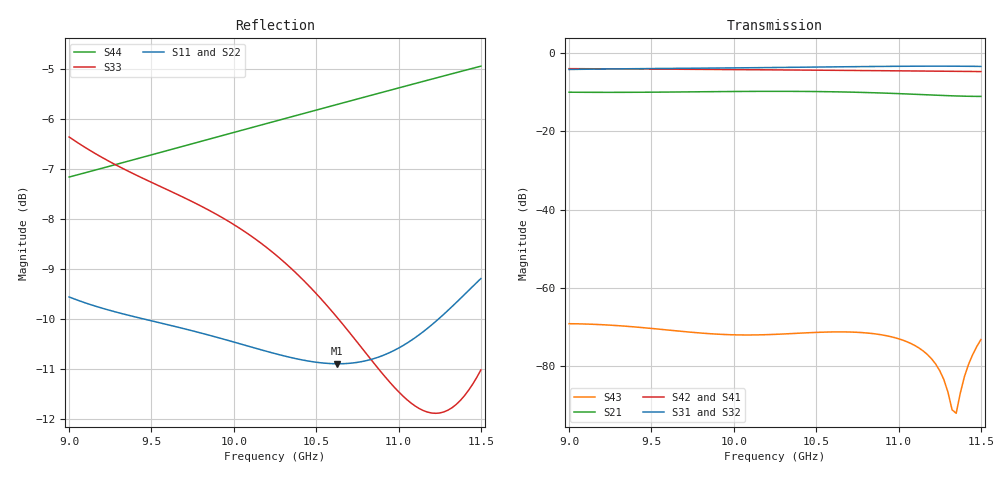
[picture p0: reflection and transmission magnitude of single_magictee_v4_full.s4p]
! Generated from PyAEDT SolutionData; AEDT ExportNetworkData workaround
# GHz S MA R 50
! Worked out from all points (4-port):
!   101 points, 9 GHz to 11.5 GHz, reference 50 ohm
!   strongest paths, dB at 9 GHz, 9.625 GHz, 10.25 GHz, 10.88 GHz, 11.5 GHz:
!     S31: -4.1, -3.9, -3.6, -3.4, -3.4
!     S32: -4.2, -3.9, -3.6, -3.4, -3.4
!     S42: -3.9, -4.1, -4.2, -4.4, -4.7
!     S41: -3.9, -4.1, -4.3, -4.5, -4.7
!     S21: -10.0, -9.9, -9.7, -10.1, -11.0
!     S43: -69.2, -71.0, -72.0, -71.9, -73.3
!   lowest |S11| = -10.9 dB at 10.62 GHz (marker M1), VSWR 1.80, Z = 27.8 + j0.52 ohm
!   |S11| at or under -10 dB: 9.444 GHz to 11.25 GHz (1.801 GHz wide, 17.4 % of centre)
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9  0.3324 -8.0  0.3178 -92.6  0.6209 -25.7  0.6348 44.4
   0.3178 -92.6  0.3323 -7.8  0.6193 -25.7  0.6365 -135.7
   0.6209 -25.7  0.6193 -25.7  0.4806 177.7  0.0003454 -63.6
   0.6348 44.4  0.6365 -135.7  0.0003454 -63.6  0.4382 -129.6
9.4  0.3175 -54.5  0.3171 -146.4  0.6355 -96.3  0.6283 -0.7
     0.3171 -146.4  0.3173 -54.3  0.634 -96.3  0.63 179.3
     0.6355 -96.3  0.634 -96.3  0.4407 87.8  0.0003137 -160.5
     0.6283 -0.7  0.63 179.3  0.0003137 -160.5  0.4564 -171.0
9.875  0.3036 -107.2  0.323 153.0  0.6476 -176.6  0.6198 -52.2
       0.323 153.0  0.3034 -107.1  0.6462 -176.7  0.6213 127.7
       0.6476 -176.6  0.6462 -176.7  0.4037 -14.1  0.0002557 73.5
       0.6198 -52.2  0.6213 127.7  0.0002557 73.5  0.4794 141.1
10.625  0.285 178.3  0.3211 61.0  0.6712 60.1  0.6043 -130.5
        0.3211 61.0  0.2853 178.2  0.6699 60.0  0.6056 49.4
        0.6712 60.1  0.6699 60.0  0.3174 -174.0  0.0002712 -128.8
        0.6043 -130.5  0.6056 49.4  0.0002712 -128.8  0.5178 67.2
11.05  0.2988 140.6  0.3019 12.3  0.683 -10.3  0.5942 -173.7
       0.3019 12.3  0.2995 140.5  0.6816 -10.4  0.5955 6.1
       0.683 -10.3  0.6816 -10.4  0.2625 83.4  0.0002033 134.8
       0.5942 -173.7  0.5955 6.1  0.0002033 134.8  0.5407 25.8
11.4  0.3342 107.4  0.2826 -22.7  0.6827 -70.1  0.585 151.0
      0.2826 -22.7  0.3351 107.4  0.681 -70.2  0.5866 -29.1
      0.6827 -70.1  0.681 -70.2  0.2647 -12.9  7.251e-05 -146.1
      0.585 151.0  0.5866 -29.1  7.251e-05 -146.1  0.5601 -8.2
11.5  0.3468 96.8  0.2809 -31.4  0.6796 -87.7  0.5823 141.0
      0.2809 -31.4  0.3476 96.8  0.6777 -87.9  0.5839 -39.2
      0.6796 -87.7  0.6777 -87.9  0.281 -40.6  0.0002161 -156.0
      0.5823 141.0  0.5839 -39.2  0.0002161 -156.0  0.5657 -17.9
